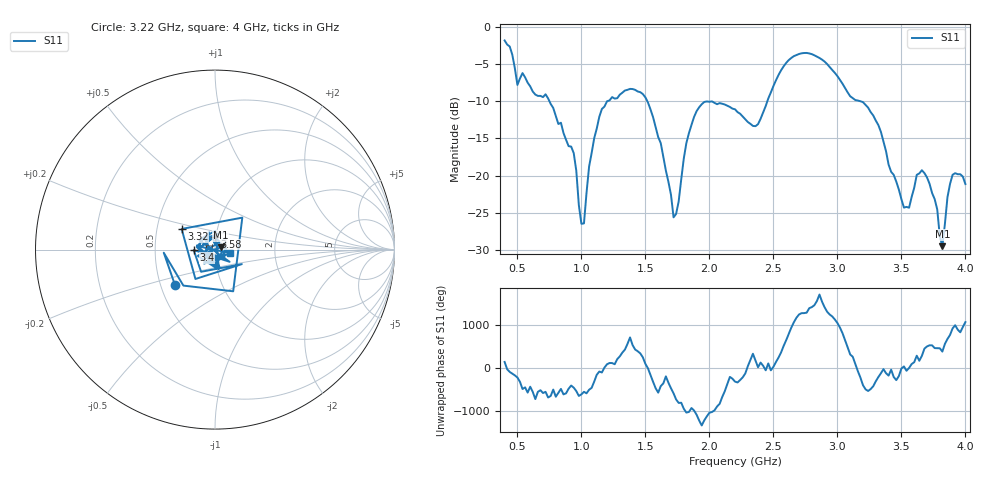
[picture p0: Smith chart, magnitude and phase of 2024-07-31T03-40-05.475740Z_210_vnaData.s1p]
!Created with skrf (http://scikit-rf.org).
# Hz S RI R 50.0
!freq ReS11 ImS11
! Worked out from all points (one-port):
!   181 points, 400 MHz to 4 GHz, reference 50 ohm
!   lowest |S11| = -29.4 dB at 3.82 GHz (marker M1), VSWR 1.07, Z = 53.2 + j1.3 ohm
!   |S11| at or under -10 dB: 749.8 MHz to 1.204 GHz (453.9 MHz wide, 46.5 % of centre); 1.515 GHz to 2.453 GHz (938.2 MHz wide, 47.3 % of centre); 3.177 GHz to end of sweep
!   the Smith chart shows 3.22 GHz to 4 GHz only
!   S11 on the Smith chart (normalised r, x): 3.22 GHz: 0.59, -0.26; 3.32 GHz: 0.67, +0.16; 3.4 GHz: 0.79, -0.00; 3.58 GHz: 0.99, +0.14; 4 GHz: 1.19, -0.05
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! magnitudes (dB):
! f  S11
! 400 MHz  -1.9
! 500 MHz  -7.8
! 720 MHz  -9.1
! 860 MHz  -14.3
! 940 MHz  -17.0
! 1.02 GHz  -26.4
! 1.06 GHz  -18.8
! 1.14 GHz  -12.1
! 1.3 GHz  -9.1
! 1.5 GHz  -9.5
! 1.62 GHz  -15.6
! 1.72 GHz  -25.6
! 1.76 GHz  -23.4
! 1.82 GHz  -15.6
! 1.9 GHz  -11.3
! 2.2 GHz  -11.1
! 2.38 GHz  -13.1
! 2.66 GHz  -4.0
! 3.1 GHz  -9.3
! 3.22 GHz  -10.5
! 3.32 GHz  -13.2
! 3.4 GHz  -18.5
! 3.56 GHz  -24.3
! 3.58 GHz  -22.9
! 3.68 GHz  -19.7
! 3.82 GHz  -29.4
! 3.9 GHz  -19.9
! 4 GHz  -21.1
